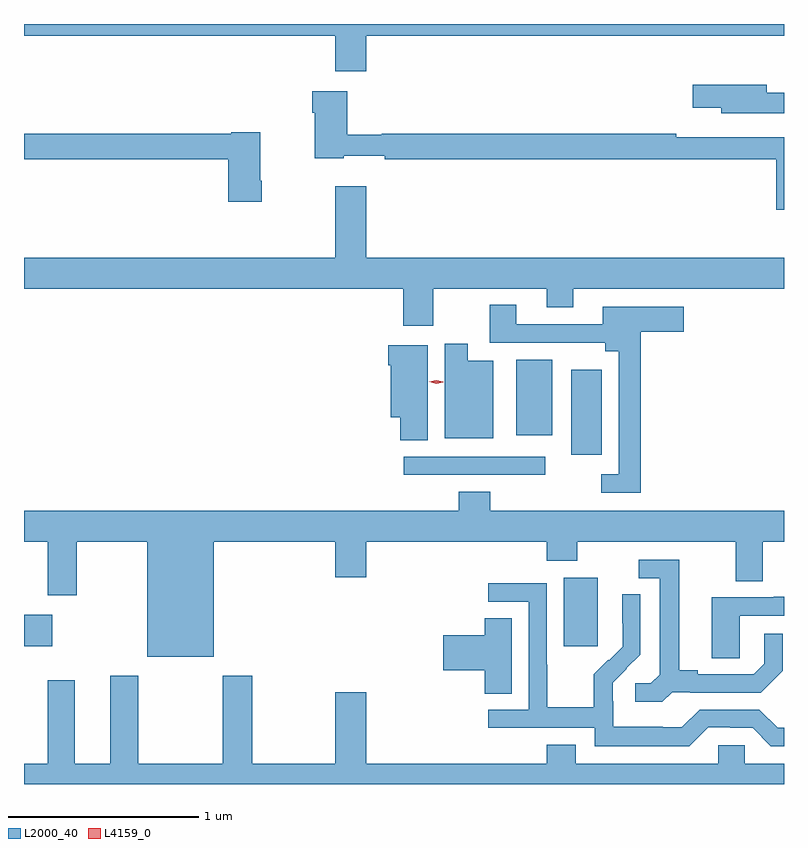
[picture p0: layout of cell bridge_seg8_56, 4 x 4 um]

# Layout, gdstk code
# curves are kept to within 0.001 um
import gdstk
lib = gdstk.Library(unit=1e-6, precision=1e-09)
def R(c, l, rs):  # rectangles x0, y0, x1, y1
    for r in rs: c.add(gdstk.rectangle(r[:2], r[2:], *l))
def P(c, l, *ps):  # polygons
    for p in ps: c.add(gdstk.Polygon(p, *l))
L2000_40 = (2000, 40)
L4159_0 = (4159, 0)

bridge_seg8_56 = lib.new_cell('bridge_seg8_56')
R(bridge_seg8_56, L2000_40, [(1077.299,1087.977,1077.478,1088.338), (1074.458,1087.979,1074.607,1088.143), (1076.457,1088.88,1077.202,1088.976), (1077.338,1088.985,1077.499,1089.433), (1077.05,1089.089,1077.238,1089.487)])
P(bridge_seg8_56, L2000_40, [(1074.458,1091.192),(1076.096,1091.192),(1076.096,1091.004),(1076.26,1091.004),(1076.26,1091.192),(1078.458,1091.192),(1078.458,1091.253),(1074.458,1091.253)],
  [(1078.458,1090.891),(1078.366,1090.891),(1078.366,1090.933),(1077.978,1090.933),(1077.978,1090.811),(1078.127,1090.811),(1078.127,1090.782),(1078.458,1090.782)],
  [(1078.458,1090.656),(1077.89,1090.656),(1077.89,1090.676),(1076.342,1090.676),(1076.342,1090.669),(1076.159,1090.669),(1076.159,1090.9),(1075.976,1090.9),(1075.976,1090.787),(1075.988,1090.787),(1075.988,1090.547),(1076.142,1090.547),(1076.142,1090.559),(1076.356,1090.559),(1076.356,1090.54),(1078.418,1090.54),(1078.418,1090.275),(1078.458,1090.275)],
  [(1075.71,1090.429),(1075.702,1090.429),(1075.702,1090.684),(1075.548,1090.684),(1075.548,1090.676),(1074.458,1090.676),(1074.458,1090.54),(1075.532,1090.54),(1075.532,1090.317),(1075.71,1090.317)],
  [(1076.613,1089.86),(1077.209,1089.86),(1077.209,1089.761),(1077.349,1089.761),(1077.349,1089.86),(1078.458,1089.86),(1078.458,1090.024),(1076.26,1090.024),(1076.26,1090.399),(1076.096,1090.399),(1076.096,1090.024),(1074.458,1090.024),(1074.458,1089.86),(1076.453,1089.86),(1076.453,1089.666),(1076.613,1089.666)],
  [(1077.704,1089.632),(1077.931,1089.632),(1077.931,1089.766),(1077.503,1089.766),(1077.503,1089.672),(1077.049,1089.672),(1077.049,1089.775),(1076.909,1089.775),(1076.909,1089.576),(1077.518,1089.576),(1077.518,1089.53),(1077.588,1089.53),(1077.588,1088.883),(1077.495,1088.883),(1077.495,1088.787),(1077.704,1088.787)],
  [(1076.929,1089.481),(1076.794,1089.481),(1076.794,1089.571),(1076.672,1089.571),(1076.672,1089.074),(1076.929,1089.074)],
  [(1076.584,1089.562),(1076.375,1089.562),(1076.375,1089.458),(1076.387,1089.458),(1076.387,1089.182),(1076.438,1089.182),(1076.438,1089.061),(1076.584,1089.061)],
  [(1075.456,1088.528),(1076.096,1088.528),(1076.096,1088.34),(1076.26,1088.34),(1076.26,1088.528),(1077.209,1088.528),(1077.209,1088.429),(1077.369,1088.429),(1077.369,1088.528),(1078.205,1088.528),(1078.205,1088.32),(1078.345,1088.32),(1078.345,1088.528),(1078.458,1088.528),(1078.458,1088.692),(1076.912,1088.692),(1076.912,1088.791),(1076.747,1088.791),(1076.747,1088.692),(1074.458,1088.692),(1074.458,1088.528),(1074.584,1088.528),(1074.584,1088.247),(1074.735,1088.247),(1074.735,1088.528),(1075.106,1088.528),(1075.106,1087.922),(1075.456,1087.922)],
  [(1077.87,1087.737),(1077.964,1087.737),(1077.964,1087.734),(1078.336,1087.734),(1078.452,1087.85),(1078.452,1088.044),(1078.355,1088.044),(1078.355,1087.887),(1078.298,1087.83),(1078.003,1087.83),(1078.003,1087.853),(1077.907,1087.853),(1077.907,1088.433),(1077.693,1088.433),(1077.693,1088.337),(1077.803,1088.337),(1077.803,1087.829),(1077.756,1087.782),(1077.675,1087.782),(1077.675,1087.685),(1077.818,1087.685)],
  [(1078.059,1087.551),(1078.175,1087.551),(1078.175,1087.548),(1078.293,1087.548),(1078.389,1087.452),(1078.458,1087.452),(1078.458,1087.548),(1078.425,1087.548),(1078.329,1087.644),(1078.014,1087.644),(1077.921,1087.551),(1077.821,1087.551),(1077.821,1087.555),(1077.558,1087.555),(1077.558,1087.689),(1077.556,1087.689),(1077.556,1087.786),(1077.702,1087.934),(1077.702,1088.252),(1077.606,1088.252),(1077.606,1088.098),(1077.608,1088.098),(1077.608,1087.976),(1077.537,1087.905),(1077.534,1087.908),(1077.457,1087.831),(1077.457,1087.657),(1077.213,1087.657),(1077.213,1087.88),(1077.21,1087.88),(1077.21,1088.31),(1076.901,1088.31),(1076.901,1088.211),(1077.114,1088.211),(1077.114,1087.644),(1076.901,1087.644),(1076.901,1087.548),(1077.462,1087.548),(1077.462,1087.451),(1077.959,1087.451)],
  [(1078.224,1088.139),(1078.458,1088.139),(1078.458,1088.239),(1078.403,1088.239),(1078.403,1088.235),(1078.079,1088.235),(1078.079,1087.915),(1078.224,1087.915)],
  [(1077.025,1088.126),(1076.882,1088.126),(1076.882,1088.036),(1076.664,1088.036),(1076.664,1087.853),(1076.882,1087.853),(1076.882,1087.729),(1077.025,1087.729)],
  [(1078.458,1087.36),(1078.251,1087.36),(1078.251,1087.458),(1078.113,1087.458),(1078.113,1087.36),(1077.361,1087.36),(1077.361,1087.459),(1077.209,1087.459),(1077.209,1087.36),(1076.26,1087.36),(1076.26,1087.735),(1076.096,1087.735),(1076.096,1087.36),(1075.659,1087.36),(1075.659,1087.822),(1075.504,1087.822),(1075.504,1087.36),(1075.059,1087.36),(1075.059,1087.822),(1074.911,1087.822),(1074.911,1087.36),(1074.724,1087.36),(1074.724,1087.798),(1074.584,1087.798),(1074.584,1087.36),(1074.458,1087.36),(1074.458,1087.253),(1078.458,1087.253)])
P(bridge_seg8_56, L4159_0, [(1076.628,1089.359),(1076.591,1089.369),(1076.591,1089.369),(1076.591,1089.369),(1076.628,1089.379),(1076.665,1089.369),(1076.665,1089.368),(1076.665,1089.368)])

lib.write_gds('bridge_seg8_56.gds')
